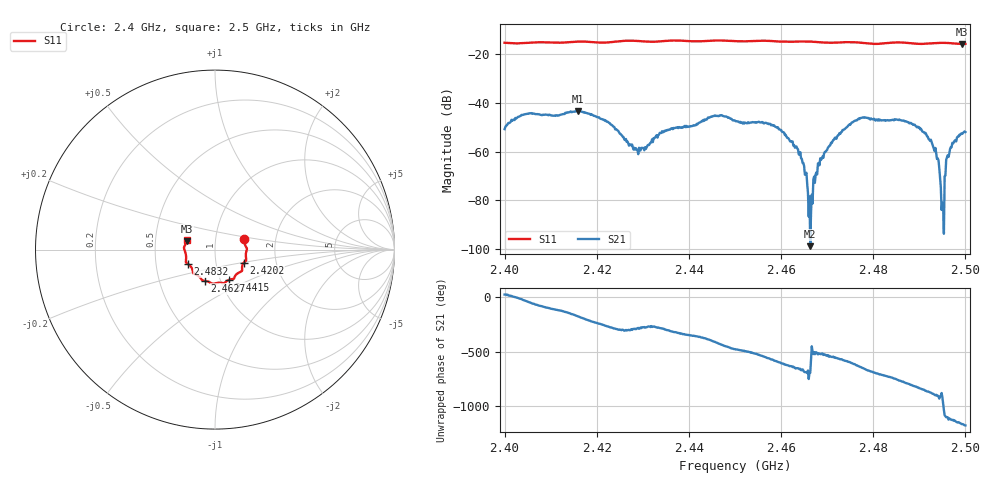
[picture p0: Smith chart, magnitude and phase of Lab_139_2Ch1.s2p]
# Hz S RI R 50
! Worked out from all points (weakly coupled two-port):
!   601 points, 2.4 GHz to 2.5 GHz, reference 50 ohm
!   highest |S21| = -43.27 dB at 2.4158 GHz (marker M1); lowest = -98.8 dB at 2.4663 GHz (marker M2)
!   lowest |S11| = -15.7 dB at 2.4993 GHz (marker M3), VSWR 1.39, Z = 36.2 + j3.4 ohm
!   |S11| at or under -10 dB: start of sweep to end of sweep
!   S12 and S22 are empty: the file has one direction only
!   S11 on the Smith chart (normalised r, x): 2.4 GHz: 1.38, +0.17; 2.4202 GHz: 1.36, -0.20; 2.4415 GHz: 1.10, -0.38; 2.4627 GHz: 0.84, -0.30; 2.4832 GHz: 0.73, -0.12; 2.5 GHz: 0.73, +0.08
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2.4e9  0.1628 0.0603  0.00269 0.00112  0 0  0 0
2.415833e9  0.1743 -0.0566  -0.00684 -0.000527  0 0  0 0
2.416667e9  0.1738 -0.0597  -0.00661 0.00107  0 0  0 0
2.420167e9  0.1604 -0.0728  -0.00266 0.00443  0 0  0 0
2.4285e9  0.1454 -0.1222  0.000494 0.00107  0 0  0 0
2.433333e9  0.1128 -0.1456  0.000376 0.00212  0 0  0 0
2.4415e9  0.077 -0.1687  0.0035 2.86e-05  0 0  0 0
2.45e9  0.0328 -0.1848  -0.00199 -0.0039  0 0  0 0
2.462667e9  -0.0557 -0.1739  0.000189 0.00132  0 0  0 0
2.4645e9  -0.0667 -0.1722  0.000465 0.00054  0 0  0 0
2.466333e9  -0.0733 -0.1682  1.02e-05 5.07e-06  0 0  0 0
2.466667e9  -0.0745 -0.167  -2.86e-06 -0.000131  0 0  0 0
2.4685e9  -0.0813 -0.1578  -0.000698 -0.000231  0 0  0 0
2.473167e9  -0.1129 -0.1365  -0.00219 0.0013  0 0  0 0
2.483167e9  -0.1521 -0.0794  0.00441 -0.000655  0 0  0 0
2.483333e9  -0.1532 -0.0785  0.00431 -0.000885  0 0  0 0
2.491333e9  -0.1643 -0.0191  -0.00186 -0.00159  0 0  0 0
2.493667e9  -0.1715 0.00164  -0.000905 -7.18e-05  0 0  0 0
2.495e9  -0.1728 0.00986  -8.64e-05 2.26e-05  0 0  0 0
2.496333e9  -0.1704 0.0182  0.000568 -0.000533  0 0  0 0
2.499333e9  -0.1577 0.0457  0.000246 -0.00231  0 0  0 0
2.5e9  -0.1557 0.0535  -0.000287 -0.00252  0 0  0 0
